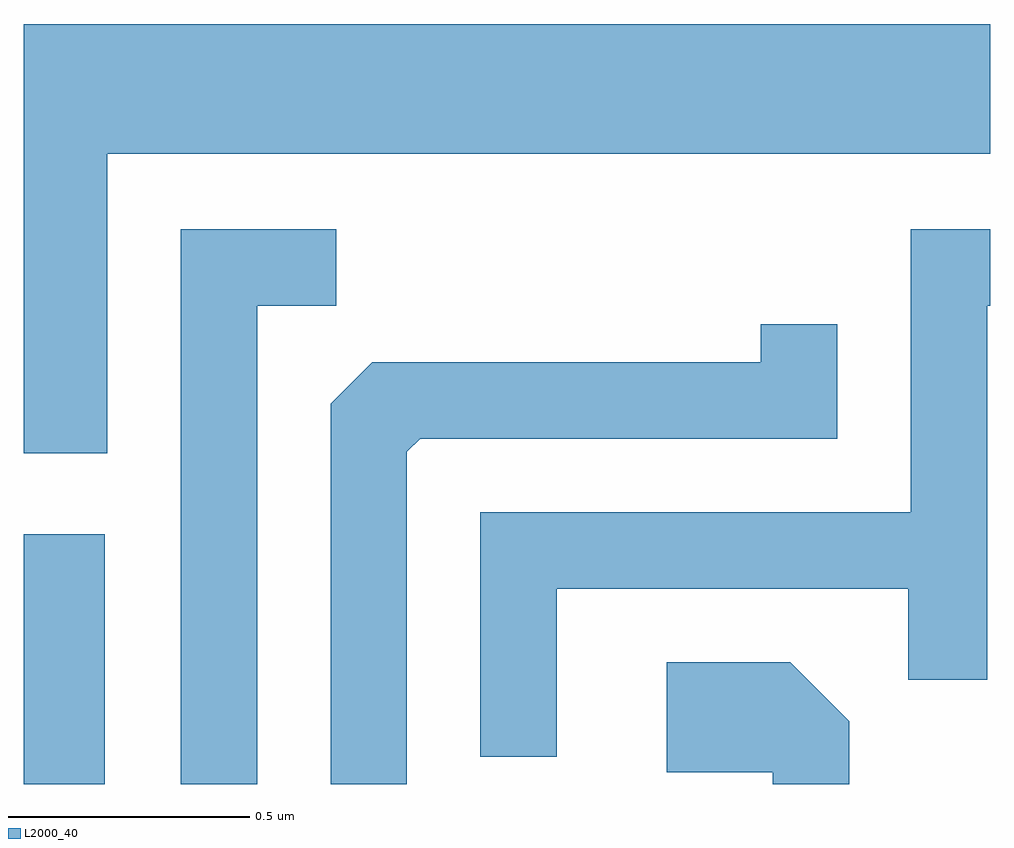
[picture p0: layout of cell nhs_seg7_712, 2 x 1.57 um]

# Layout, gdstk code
import gdstk
lib = gdstk.Library(unit=1e-6, precision=1e-09)
def R(c, l, rs):  # rectangles x0, y0, x1, y1
    for r in rs: c.add(gdstk.rectangle(r[:2], r[2:], *l))
def P(c, l, *ps):  # polygons
    for p in ps: c.add(gdstk.Polygon(p, *l))
L2000_40 = (2000, 40)

nhs_seg7_712 = lib.new_cell('nhs_seg7_712')
R(nhs_seg7_712, L2000_40, [(190.611,1695.252,190.779,1695.769)])
P(nhs_seg7_712, L2000_40, [(190.784,1696.556),(192.611,1696.556),(192.611,1696.824),(190.611,1696.824),(190.611,1695.936),(190.784,1695.936)],
  [(191.094,1696.241),(191.258,1696.241),(191.258,1696.399),(190.936,1696.399),(190.936,1695.252),(191.094,1695.252)],
  [(191.714,1695.656),(192.441,1695.656),(192.441,1695.468),(192.604,1695.468),(192.604,1696.241),(192.611,1696.241),(192.611,1696.399),(192.446,1696.399),(192.446,1695.814),(191.556,1695.814),(191.556,1695.308),(191.714,1695.308)],
  [(191.404,1695.939),(191.432,1695.966),(192.294,1695.966),(192.294,1696.203),(192.136,1696.203),(192.136,1696.124),(191.332,1696.124),(191.246,1696.039),(191.246,1695.252),(191.404,1695.252)],
  [(192.319,1695.382),(192.197,1695.504),(191.941,1695.504),(191.941,1695.276),(192.161,1695.276),(192.161,1695.252),(192.319,1695.252)])

lib.write_gds('nhs_seg7_712.gds')
